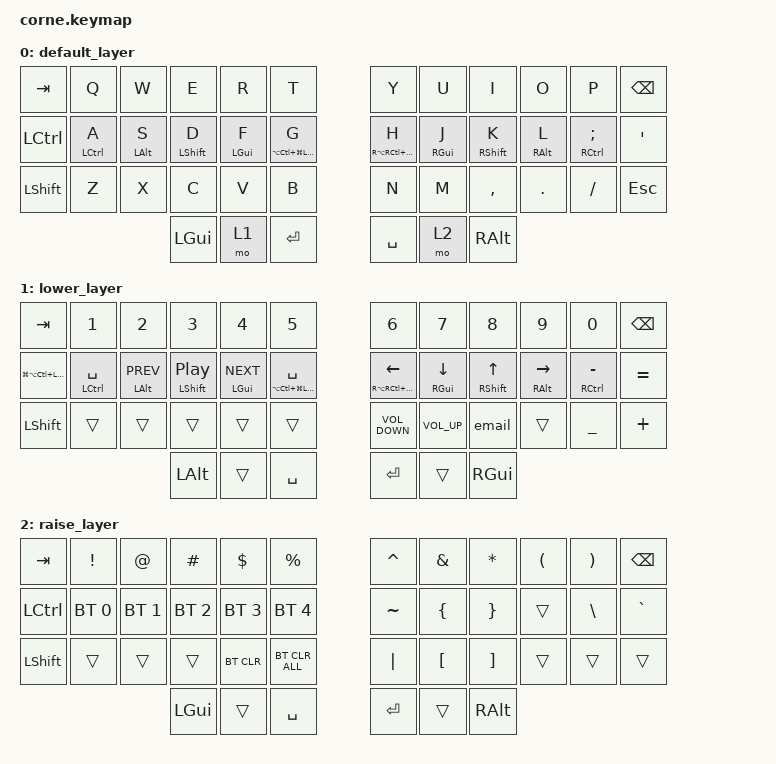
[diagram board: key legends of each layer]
/*
 * Copyright (c) 2020 The ZMK Contributors
 *
 * SPDX-License-Identifier: MIT
 */

#include <behaviors.dtsi>
#include <dt-bindings/zmk/bt.h>
#include <dt-bindings/zmk/keys.h>

/ {
    combos {
        compatible = "zmk,combos";

        combo_esc {
            timeout-ms = <50>;
            key-positions = <0 1>;
            bindings = <&kp ESC>;
        };

        screenshot {
            bindings = <&kp LS(LG(NUMBER_4))>;
            key-positions = <37 0>;
        };
    };

    behaviors {
        ss_hs_modmorph: ss_hs_modmorph {
            compatible = "zmk,behavior-mod-morph";
            label = "SS_HS_MODMORPH";
            bindings = <&kp M>, <&kp RIGHT_BRACKET>;

            #binding-cells = <0>;
            mods = <(MOD_LSFT|MOD_RSFT)>;
        };

        kh_hs_tapdance: kh_hs_tapdance {
            compatible = "zmk,behavior-tap-dance";
            label = "KH_HS_TAPDANCE";
            #binding-cells = <0>;
            tapping-term-ms = <200>;
            bindings = <&kp LEFT_BRACKET>, <&kp RIGHT_BRACKET>;
        };

        hrm: hrm {
            compatible = "zmk,behavior-hold-tap";
            #binding-cells = <2>;
            flavor = "tap-preferred";
            tapping-term-ms = <200>;
            quick-tap-ms = <200>;
            require-prior-idle-ms = <125>;
            bindings = <&kp>, <&kp>;
        };
    };

    macros {
        email: email {
            compatible = "zmk,behavior-macro";
            #binding-cells = <0>;
            bindings = <&none &kp T &kp I &kp M &kp U &kp R &kp DOT &kp D &kp J &kp E &kp L &kp E &kp T &kp Y &kp A &kp N &kp DOT &kp N2 &kp N0 &kp N0 &kp N9 &kp AT &kp G &kp M &kp A &kp I &kp L &kp DOT &kp C &kp O &kp M>;
            label = "EMAIL";
        };
    };

    keymap {
        compatible = "zmk,keymap";

        default_layer {
            // -----------------------------------------------------------------------------------------
            // |  TAB |  Q  |  W  |  E  |  R  |  T  |   |  Y  |  U   |  I  |  O  |  P  | BKSP |
            // | CTRL |  A  |  S  |  D  |  F  |  G  |   |  H  |  J   |  K  |  L  |  ;  |  '   |
            // | SHFT |  Z  |  X  |  C  |  V  |  B  |   |  N  |  M   |  ,  |  .  |  /  | ESC  |
            //                    | GUI | LWR | SPC |   | ENT | RSE  | ALT |

            bindings = <
&kp TAB    &kp Q                &kp W            &kp E              &kp R            &kp T                            &kp Y                           &kp U             &kp I               &kp O             &kp P                    &kp BSPC
&kp LCTRL  &hrm LEFT_CONTROL A  &hrm LEFT_ALT S  &hrm LEFT_SHIFT D  &hrm LEFT_GUI F  &hrm LA(LC(LG(LEFT_SHIFT))) G    &hrm RA(RC(RG(RIGHT_SHIFT))) H  &hrm RIGHT_GUI J  &hrm RIGHT_SHIFT K  &hrm RIGHT_ALT L  &hrm RIGHT_CONTROL SEMI  &kp SQT
&kp LSHFT  &kp Z                &kp X            &kp C              &kp V            &kp B                            &kp N                           &kp M             &kp COMMA           &kp DOT           &kp FSLH                 &kp ESC
                                                 &kp LGUI           &mo 1            &kp RET                          &kp SPACE                       &mo 2             &kp RALT
            >;
        };

        lower_layer {
            // -----------------------------------------------------------------------------------------
            // |  TAB |  1  |  2  |  3  |  4  |  5  |   |  6  |  7  |  8  |  9  |  0  | BKSP |
            // | BTCLR| BT1 | BT2 | BT3 | BT4 | BT5 |   | LFT | DWN |  UP | RGT |     |      |
            // | SHFT |     |     |     |     |     |   |     |     |     |     |     |      |
            //                    | GUI |     | SPC |   | ENT |     | ALT |

            bindings = <
&kp TAB                     &kp N1                   &kp N2                &kp N3                        &kp N4                &kp N5                               &kp N6                             &kp N7               &kp N8               &kp N9                &kp N0                    &kp BACKSPACE
&kp LG(LA(LC(LEFT_SHIFT)))  &hrm LEFT_CONTROL SPACE  &hrm LEFT_ALT C_PREV  &hrm LEFT_SHIFT C_PLAY_PAUSE  &hrm LEFT_GUI C_NEXT  &hrm LA(LC(LG(LEFT_SHIFT))) SPACE    &hrm RA(RC(RG(RIGHT_SHIFT))) LEFT  &hrm RIGHT_GUI DOWN  &hrm RIGHT_SHIFT UP  &hrm RIGHT_ALT RIGHT  &hrm RIGHT_CONTROL MINUS  &kp EQUAL
&kp LSHFT                   &trans                   &trans                &trans                        &trans                &trans                               &kp C_VOLUME_DOWN                  &kp C_VOLUME_UP      &email               &trans                &kp UNDERSCORE            &kp PLUS
                                                                           &kp LEFT_ALT                  &trans                &kp SPACE                            &kp RET                            &trans               &kp RIGHT_GUI
            >;
        };

        raise_layer {
            // -----------------------------------------------------------------------------------------
            // |  TAB |  !  |  @  |  #  |  $  |  %  |   |  ^  |  &  |  *  |  (  |  )  | BKSP |
            // | CTRL |     |     |     |     |     |   |  -  |  =  |  [  |  ]  |  \  |  `   |
            // | SHFT |     |     |     |     |     |   |  _  |  +  |  {  |  }  | "|" |  ~   |
            //                    | GUI |     | SPC |   | ENT |     | ALT |

            bindings = <
&kp TAB    &kp EXCL      &kp AT        &kp HASH      &kp DLLR      &kp PRCNT         &kp CARET  &kp AMPS          &kp ASTRK          &kp LPAR  &kp RPAR  &kp BSPC
&kp LCTRL  &bt BT_SEL 0  &bt BT_SEL 1  &bt BT_SEL 2  &bt BT_SEL 3  &bt BT_SEL 4      &kp TILDE  &kp LEFT_BRACE    &kp RIGHT_BRACE    &trans    &kp BSLH  &kp GRAVE
&kp LSHFT  &trans        &trans        &trans        &bt BT_CLR    &bt BT_CLR_ALL    &kp PIPE   &kp LEFT_BRACKET  &kp RIGHT_BRACKET  &trans    &trans    &trans
                                       &kp LGUI      &trans        &kp SPACE         &kp RET    &trans            &kp RALT
            >;
        };
    };
};
